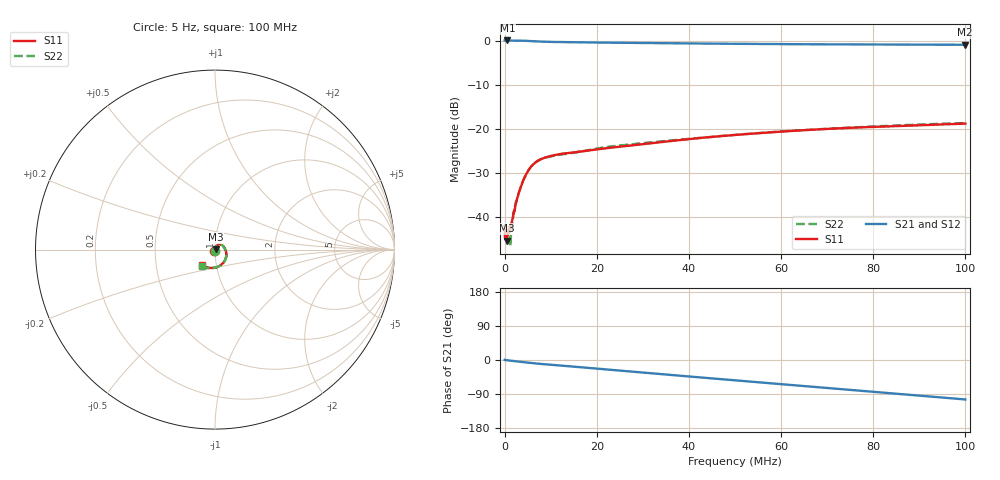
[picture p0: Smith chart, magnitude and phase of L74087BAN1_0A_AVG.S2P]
!Agilent Technologies,E5061B,MY49102235,A.02.00
!Date: Tue Jul 11 14:36:44 2023
!Data & Calibration Information:
!Freq	S11:SOLT2(ON)	S21:SOLT2(ON)	S12:SOLT2(ON)	S22:SOLT2(ON)
# Hz S RI R 50
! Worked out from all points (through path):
!   1600 points, 5 Hz to 100 MHz, reference 50 ohm
!   highest |S21| = 0.02 dB at 625.4 kHz (marker M1); lowest = -1.0 dB at 99.81 MHz (marker M2)
!   group delay of S21, straight-line fit = 2.84 ns
!   lowest |S11| = -45.4 dB at 500.3 kHz (marker M3), VSWR 1.01, Z = 50.5 + j0.269 ohm
!   |S11| at or under -10 dB: start of sweep to end of sweep
!   |S22| runs from -46.7 to -18.7 dB; largest |S21 - S12| = 0.0028
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5  -0.00525 -0.00564  1.002 0.00786  1 0.0102  -0.00149 -0.00755
500317.7  0.00467 0.00267  1.001 -0.011  1.001 -0.0107  0.0049 0.00106
625395.8  0.0052 0.00329  1.002 -0.0146  1.002 -0.014  0.00623 0.00288
938091.3  0.00469 0.00551  1.001 -0.0211  1.001 -0.0206  0.00623 0.0049
1313326  0.00503 0.00609  1.001 -0.03  1 -0.03  0.0032 0.00453
1688560  0.00461 0.00807  1 -0.0402  1.001 -0.0402  0.00432 0.00723
2063795  0.00425 0.0109  1.001 -0.0496  0.9997 -0.0497  0.00466 0.0108
2376490  0.00484 0.0127  0.9985 -0.0571  0.9988 -0.0572  0.00547 0.013
2939342  0.00693 0.0163  0.9971 -0.0713  0.9965 -0.0712  0.00588 0.0167
3502194  0.00883 0.0197  0.9945 -0.0856  0.9941 -0.0852  0.00792 0.0203
4627897  0.015 0.0261  0.9869 -0.113  0.9864 -0.1124  0.0146 0.0266
5878679  0.0242 0.029  0.9753 -0.1399  0.9749 -0.1395  0.0237 0.0292
7504695  0.0345 0.0272  0.9606 -0.1687  0.9603 -0.1685  0.0343 0.0279
9380868  0.0423 0.0226  0.9468 -0.1994  0.9463 -0.1989  0.0419 0.0227
1.669794e7  0.0549 0.00493  0.8991 -0.3145  0.8988 -0.314  0.0547 0.00484
2.251408e7  0.0601 -0.0061  0.8557 -0.4045  0.8555 -0.4043  0.0617 -0.00714
3.333334e7  0.0632 -0.0295  0.7507 -0.557  0.7506 -0.5564  0.0642 -0.0305
5.003127e7  0.0503 -0.0683  0.5447 -0.7399  0.5446 -0.7394  0.0499 -0.069
6.672921e7  0.0136 -0.0963  0.3029 -0.855  0.3032 -0.8547  0.0142 -0.0966
8.33646e7  -0.0307 -0.1017  0.0433 -0.8989  0.0435 -0.8988  -0.0304 -0.1033
9.981238e7  -0.0729 -0.0876  -0.2161 -0.8689  -0.2158 -0.869  -0.073 -0.0895
1e8  -0.0735 -0.0874  -0.2192 -0.8682  -0.2188 -0.8681  -0.0735 -0.0895
